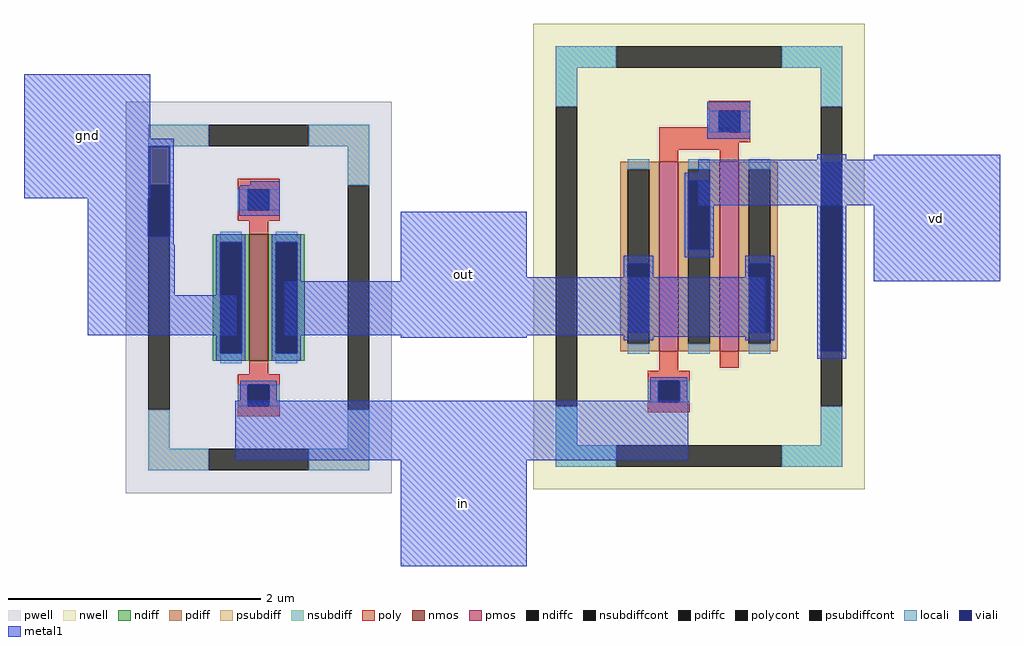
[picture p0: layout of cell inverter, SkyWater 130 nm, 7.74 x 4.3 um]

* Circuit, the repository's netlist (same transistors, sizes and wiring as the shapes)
** sch_path: /foss/designs/inverter/xschem_files/inverter.sch
**.subckt inverter in out vd gnd
*.ipin in
*.opin out
*.iopin vd
*.iopin gnd
XN0 out in gnd gnd sky130_fd_pr__nfet_01v8 L=0.15 W=1 nf=1 ad='int((nf+1)/2) * W/nf * 0.29' as='int((nf+2)/2) * W/nf * 0.29'
+ pd='2*int((nf+1)/2) * (W/nf + 0.29)' ps='2*int((nf+2)/2) * (W/nf + 0.29)' nrd='0.29 / W' nrs='0.29 / W'
+ sa=0 sb=0 sd=0 mult=1 m=1
XP0 out in vd vd sky130_fd_pr__pfet_01v8 L=0.15 W=3 nf=1 ad='int((nf+1)/2) * W/nf * 0.29' as='int((nf+2)/2) * W/nf * 0.29'
+ pd='2*int((nf+1)/2) * (W/nf + 0.29)' ps='2*int((nf+2)/2) * (W/nf + 0.29)' nrd='0.29 / W' nrs='0.29 / W'
+ sa=0 sb=0 sd=0 mult=1 m=1
**.ends
.end

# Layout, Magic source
magic
tech sky130A
magscale 1 2
<< nwell >>
rect 214 1390 326 1426
<< poly >>
rect 214 1390 326 1426
<< metal1 >>
rect -793 1313 -593 1510
rect 290 1408 358 1466
rect 554 1374 754 1382
rect -434 1332 -388 1340
rect -692 1240 -599 1313
rect -452 1286 -388 1332
rect 276 1302 754 1374
rect -692 1160 -554 1240
rect -196 1188 4 1292
rect -196 1182 382 1188
rect 554 1182 754 1302
rect -692 1096 -456 1160
rect -380 1096 382 1182
rect -196 1092 4 1096
rect 166 1094 382 1096
rect -458 898 260 992
rect -196 730 4 898
use sky130_fd_pr__nfet_01v8_SSYH3Y  XN0
transform 1 0 -421 0 1 1156
box -211 -310 211 310
use sky130_fd_pr__pfet_01v8_BSG5A6  sky130_fd_pr__pfet_01v8_BSG5A6_0
transform 1 0 277 0 1 1221
box -263 -369 263 369
<< labels >>
flabel metal1 -196 730 4 930 0 FreeSans 256 0 0 0 in
port 1 nsew
flabel metal1 -196 1092 4 1292 0 FreeSans 256 0 0 0 out
port 2 nsew
flabel metal1 554 1182 754 1382 0 FreeSans 256 0 0 0 vd
port 0 nsew
flabel space -793 1313 -593 1513 0 FreeSans 256 0 0 0 gnd
port 3 nsew
<< end >>

# cell sky130_fd_pr__nfet_01v8_SSYH3Y: kit device sky130_fd_pr__nfet_01v8, w 1.0 l 0.15 m 1 nf 1 diffcov 100 polycov 100 guard 1 glc 1 grc 1 gtc 1 gbc 1 tbcov 100 rlcov 100 topc 1 botc 1 poverlap 0 doverlap 1 lmin 0.15 wmin 0.42 compatible {sky130_fd_pr__nfet_01v8 sky130_fd_pr__nfet_01v8_lvt sky130_fd_bs_flash__special_sonosfet_star sky130_fd_pr__nfet_g5v0d10v5 sky130_fd_pr__nfet_05v0_nvt sky130_fd_pr__nfet_03v3_nvt} full_metal 1 viasrc 100 viadrn 100 viagate 100 viagb 0 viagr 0 viagl -30 viagt 0

# cell sky130_fd_pr__pfet_01v8_BSG5A6: kit device sky130_fd_pr__pfet_01v8, w 1.5 l 0.15 m 1 nf 2 diffcov 100 polycov 100 guard 1 glc 1 grc 1 gtc 1 gbc 1 tbcov 100 rlcov 100 topc 1 botc 1 poverlap 0 doverlap 1 lmin 0.15 wmin 0.42 compatible {sky130_fd_pr__pfet_01v8 sky130_fd_pr__pfet_01v8_lvt sky130_fd_pr__pfet_01v8_hvt sky130_fd_pr__pfet_g5v0d10v5} full_metal 1 viasrc -40 viadrn +40 viagate 100 viagb 0 viagr 50 viagl 0 viagt 0
